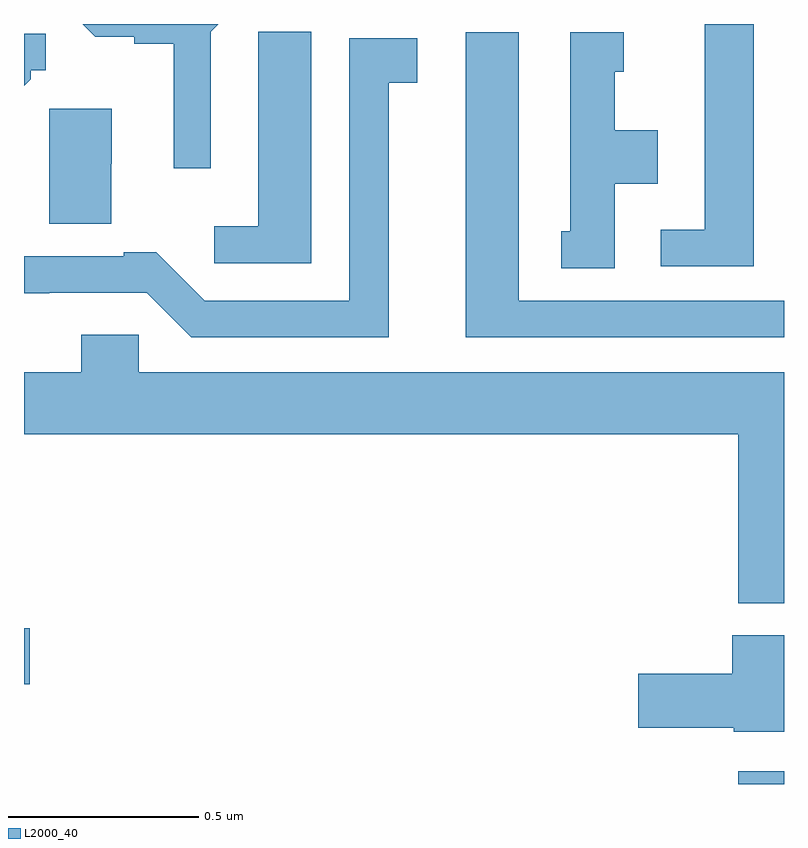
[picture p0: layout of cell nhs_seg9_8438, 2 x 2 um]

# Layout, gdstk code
import gdstk
lib = gdstk.Library(unit=1e-6, precision=1e-09)
def R(c, l, rs):  # rectangles x0, y0, x1, y1
    for r in rs: c.add(gdstk.rectangle(r[:2], r[2:], *l))
def P(c, l, *ps):  # polygons
    for p in ps: c.add(gdstk.Polygon(p, *l))
L2000_40 = (2000, 40)

nhs_seg9_8438 = lib.new_cell('nhs_seg9_8438')
R(nhs_seg9_8438, L2000_40, [(218.88,1195.5,219,1195.534), (217,1195.763,217.015,1195.91)])
P(nhs_seg9_8438, L2000_40, [(217.491,1197.48),(217.511,1197.5),(217.154,1197.5),(217.187,1197.467),(217.29,1197.467),(217.29,1197.448),(217.394,1197.448),(217.394,1197.12),(217.491,1197.12)],
  [(218.92,1197.5),(218.792,1197.5),(218.792,1196.958),(218.676,1196.958),(218.676,1196.862),(218.92,1196.862)],
  [(217.756,1197.479),(217.617,1197.479),(217.617,1197.371),(217.616,1197.371),(217.616,1196.968),(217.5,1196.968),(217.5,1196.871),(217.756,1196.871)],
  [(219,1196.772),(218.302,1196.772),(218.302,1197.478),(218.162,1197.478),(218.162,1196.676),(219,1196.676)],
  [(218.554,1197.08),(218.668,1197.08),(218.668,1197.22),(218.554,1197.22),(218.554,1197.375),(218.578,1197.375),(218.578,1197.478),(218.438,1197.478),(218.438,1196.955),(218.414,1196.955),(218.414,1196.857),(218.554,1196.857)],
  [(217.018,1197.355),(217.018,1197.378),(217.057,1197.378),(217.057,1197.474),(217,1197.474),(217,1197.337)],
  [(217.96,1197.346),(218.035,1197.346),(218.035,1197.462),(217.856,1197.462),(217.856,1196.772),(217.476,1196.772),(217.348,1196.9),(217.262,1196.9),(217.262,1196.889),(217,1196.889),(217,1196.792),(217.067,1196.792),(217.067,1196.793),(217.323,1196.793),(217.44,1196.676),(217.96,1196.676)],
  [(217.23,1197.132),(217.231,1197.132),(217.231,1197.277),(217.067,1197.277),(217.067,1196.974),(217.23,1196.974)],
  [(219,1196.584),(217.302,1196.584),(217.302,1196.682),(217.151,1196.682),(217.151,1196.584),(217,1196.584),(217,1196.42),(218.88,1196.42),(218.88,1195.976),(219,1195.976)],
  [(219,1195.891),(218.864,1195.891),(218.864,1195.79),(218.616,1195.79),(218.616,1195.648),(218.868,1195.648),(218.868,1195.637),(219,1195.637)])

lib.write_gds('nhs_seg9_8438.gds')
